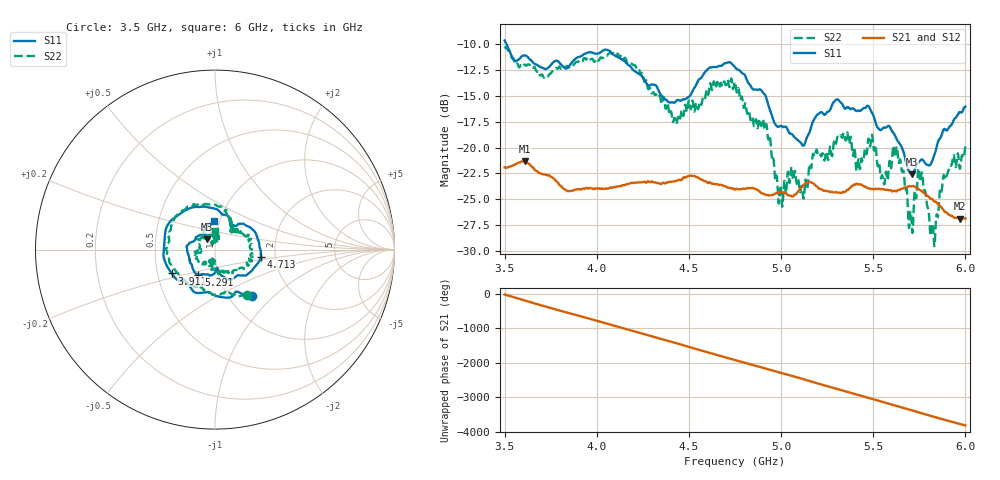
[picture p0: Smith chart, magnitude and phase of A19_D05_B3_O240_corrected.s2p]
! Created with skrf 1.9.0 (http://scikit-rf.org).
# Hz S RI R 50.0
!freq ReS11 ImS11 ReS21 ImS21 ReS12 ImS12 ReS22 ImS22
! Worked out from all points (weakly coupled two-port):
!   1601 points, 3.5 GHz to 6 GHz, reference 50 ohm
!   highest |S21| = -21.32 dB at 3.609 GHz (marker M1); lowest = -26.9 dB at 5.972 GHz (marker M2)
!   lowest |S11| = -22.6 dB at 5.709 GHz (marker M3), VSWR 1.16, Z = 45.2 + j5.2 ohm
!   |S11| at or under -10 dB: 3.511 GHz to end of sweep
!   |S22| runs from -29.5 to -10.2 dB; largest |S21 - S12| = 0.00096
!   S11 on the Smith chart (normalised r, x): 3.5 GHz: 1.27, -0.74; 3.911 GHz: 0.59, -0.17; 4.713 GHz: 1.68, -0.14; 5.291 GHz: 0.80, -0.23; 6 GHz: 0.94, +0.30
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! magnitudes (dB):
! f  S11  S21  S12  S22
! 3.5 GHz  -9.6  -21.9  -21.9  -10.2
! 3.609 GHz  -11.1  -21.3  -21.3  -12.0
! 3.911 GHz  -11.2  -24.0  -24.0  -11.5
! 3.917 GHz  -11.1  -24.0  -24.0  -11.6
! 4.142 GHz  -11.5  -23.6  -23.6  -11.4
! 4.334 GHz  -14.4  -23.4  -23.4  -15.2
! 4.425 GHz  -15.6  -23.3  -23.2  -17.2
! 4.713 GHz  -11.8  -23.9  -23.9  -13.6
! 4.75 GHz  -12.2  -24.1  -24.0  -13.7
! 4.912 GHz  -14.9  -24.5  -24.5  -18.2
! 4.997 GHz  -17.9  -24.3  -24.3  -23.7
! 5.167 GHz  -17.8  -23.4  -23.4  -21.5
! 5.291 GHz  -15.5  -24.3  -24.3  -19.5
! 5.486 GHz  -16.4  -24.0  -24.0  -19.6
! 5.584 GHz  -17.9  -24.1  -24.1  -21.9
! 5.636 GHz  -19.5  -24.1  -24.1  -21.2
! 5.709 GHz  -22.6  -23.7  -23.7  -27.5
! 5.755 GHz  -21.3  -24.1  -24.1  -23.3
! 5.823 GHz  -21.1  -25.0  -25.0  -27.5
! 5.875 GHz  -18.6  -25.9  -25.8  -23.6
! 5.972 GHz  -16.6  -26.9  -26.8  -21.9
! 6 GHz  -16.1  -26.9  -26.8  -19.9
